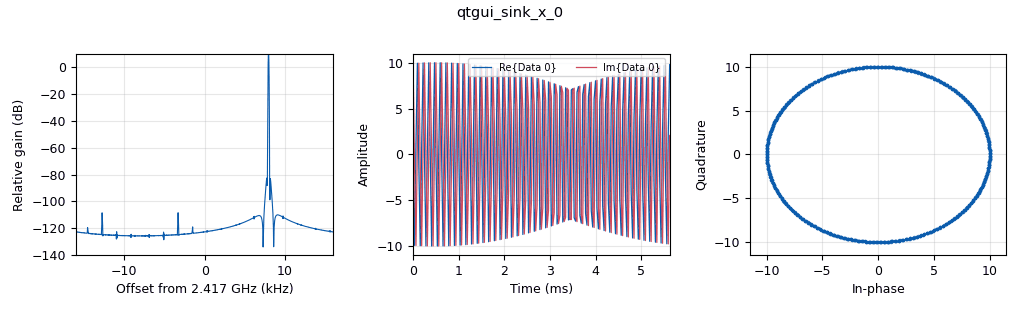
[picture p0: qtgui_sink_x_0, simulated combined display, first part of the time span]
<?xml version='1.0' encoding='utf-8'?>
<?grc format='1' created='3.7.11'?>
<flow_graph>
<block>
<key>options</key>
<param><key>id</key><value>top_block</value></param>
<param><key>generate_options</key><value>qt_gui</value></param>
</block>
<block>
<key>variable</key>
<param><key>id</key><value>center_freq</value></param>
<param><key>value</key><value>2417e6</value></param>
</block>
<block>
<key>variable</key>
<param><key>id</key><value>samp_rate</value></param>
<param><key>value</key><value>32000</value></param>
</block>
<block>
<key>variable_qtgui_range</key>
<param><key>id</key><value>squelch</value></param>
<param><key>value</key><value>0</value></param>
<param><key>label</key><value>squelch power</value></param>
<param><key>orient</key><value>Qt.Horizontal</value></param>
<param><key>start</key><value>-100</value></param>
<param><key>step</key><value>5</value></param>
<param><key>stop</key><value>100</value></param>
</block>
<block>
<key>analog_sig_source_x</key>
<param><key>id</key><value>analog_sig_source_x_0</value></param>
<param><key>amp</key><value>10</value></param>
<param><key>freq</key><value>center_freq</value></param>
<param><key>offset</key><value>0</value></param>
<param><key>type</key><value>complex</value></param>
<param><key>samp_rate</key><value>samp_rate</value></param>
<param><key>waveform</key><value>analog.GR_COS_WAVE</value></param>
</block>
<block>
<key>blocks_throttle</key>
<param><key>id</key><value>blocks_throttle_0</value></param>
<param><key>samples_per_second</key><value>samp_rate</value></param>
<param><key>type</key><value>complex</value></param>
</block>
<block>
<key>qtgui_sink_x</key>
<param><key>id</key><value>qtgui_sink_x_0</value></param>
<param><key>bw</key><value>samp_rate</value></param>
<param><key>fc</key><value>center_freq</value></param>
<param><key>freqchangevar</key><value>None</value></param>
<param><key>fftsize</key><value>1024</value></param>
<param><key>showports</key><value>True</value></param>
<param><key>type</key><value>complex</value></param>
<param><key>wintype</key><value>firdes.WIN_BLACKMAN_hARRIS</value></param>
</block>
<connection><source_block_id>analog_sig_source_x_0</source_block_id><sink_block_id>blocks_throttle_0</sink_block_id><source_key>0</source_key><sink_key>0</sink_key></connection>
<connection><source_block_id>blocks_throttle_0</source_block_id><sink_block_id>qtgui_sink_x_0</sink_block_id><source_key>0</source_key><sink_key>0</sink_key></connection>
</flow_graph>
